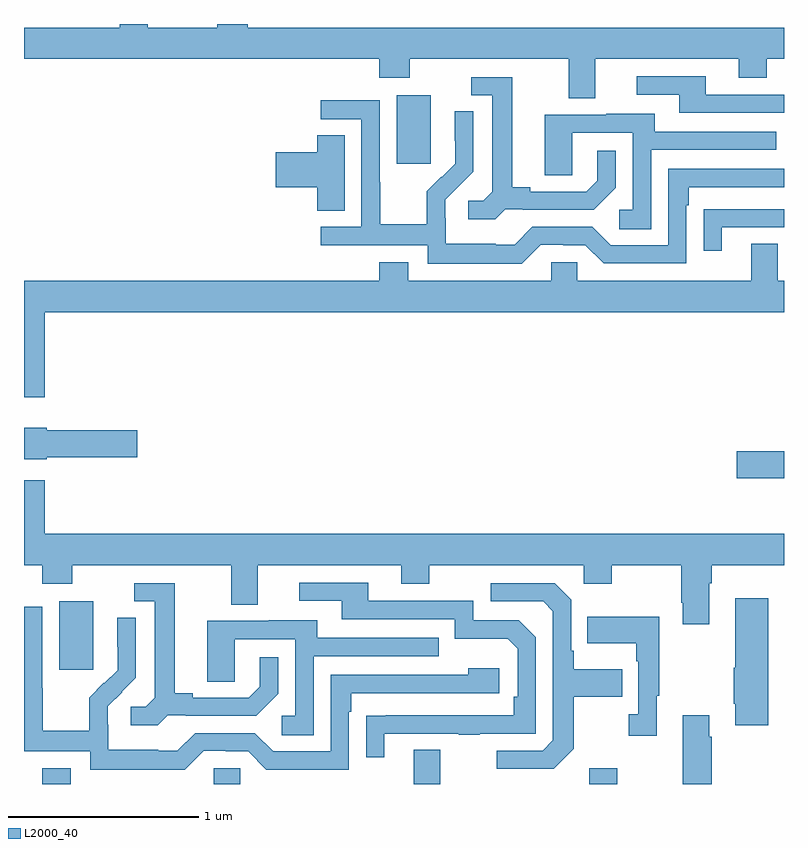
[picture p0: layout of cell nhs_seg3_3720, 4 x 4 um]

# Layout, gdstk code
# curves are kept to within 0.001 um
import gdstk
lib = gdstk.Library(unit=1e-6, precision=1e-09)
def R(c, l, rs):  # rectangles x0, y0, x1, y1
    for r in rs: c.add(gdstk.rectangle(r[:2], r[2:], *l))
def P(c, l, *ps):  # polygons
    for p in ps: c.add(gdstk.Polygon(p, *l))
L2000_40 = (2000, 40)

nhs_seg3_3720 = lib.new_cell('nhs_seg3_3720')
R(nhs_seg3_3720, L2000_40, [(303.095,730.4,303.247,730.483), (303.999,730.4,304.137,730.482), (305.051,730.4,305.191,730.579), (305.975,730.4,306.123,730.483), (303.185,731.001,303.364,731.362), (306.75,732.01,307,732.152), (304.961,733.665,305.14,734.026)])
P(nhs_seg3_3720, L2000_40, [(304.178,734.4),(304.018,734.4),(304.018,734.38),(303.651,734.38),(303.651,734.4),(303.504,734.4),(303.504,734.38),(303,734.38),(303,734.216),(304.871,734.216),(304.871,734.117),(305.031,734.117),(305.031,734.216),(305.867,734.216),(305.867,734.008),(306.007,734.008),(306.007,734.216),(306.761,734.216),(306.761,734.117),(306.909,734.117),(306.909,734.216),(307,734.216),(307,734.38),(304.178,734.38)],
  [(307,734.028),(306.589,734.028),(306.589,734.124),(306.225,734.124),(306.225,734.028),(306.449,734.028),(306.449,733.932),(307,733.932)],
  [(305.532,733.425),(305.626,733.425),(305.626,733.422),(305.998,733.422),(306.114,733.538),(306.114,733.732),(306.017,733.732),(306.017,733.575),(305.96,733.518),(305.665,733.518),(305.665,733.541),(305.569,733.541),(305.569,734.121),(305.355,734.121),(305.355,734.025),(305.465,734.025),(305.465,733.517),(305.418,733.47),(305.337,733.47),(305.337,733.373),(305.48,733.373)],
  [(305.721,733.239),(305.837,733.239),(305.837,733.236),(305.955,733.236),(306.051,733.14),(306.486,733.14),(306.486,733.445),(306.499,733.445),(306.499,733.542),(307,733.542),(307,733.638),(306.39,733.638),(306.39,733.236),(306.087,733.236),(305.991,733.332),(305.676,733.332),(305.583,733.239),(305.483,733.239),(305.483,733.243),(305.22,733.243),(305.22,733.377),(305.218,733.377),(305.218,733.474),(305.364,733.622),(305.364,733.94),(305.268,733.94),(305.268,733.786),(305.27,733.786),(305.27,733.664),(305.199,733.593),(305.196,733.596),(305.119,733.519),(305.119,733.345),(304.875,733.345),(304.875,733.568),(304.872,733.568),(304.872,733.998),(304.563,733.998),(304.563,733.899),(304.776,733.899),(304.776,733.332),(304.563,733.332),(304.563,733.236),(305.124,733.236),(305.124,733.139),(305.621,733.139)],
  [(306.3,733.737),(306.959,733.737),(306.959,733.833),(306.319,733.833),(306.319,733.927),(306.065,733.927),(306.065,733.923),(305.741,733.923),(305.741,733.603),(305.886,733.603),(305.886,733.827),(306.204,733.827),(306.204,733.422),(306.132,733.422),(306.132,733.321),(306.3,733.321)],
  [(304.687,733.814),(304.544,733.814),(304.544,733.724),(304.326,733.724),(304.326,733.541),(304.544,733.541),(304.544,733.417),(304.687,733.417)],
  [(306.673,733.329),(307,733.329),(307,733.425),(306.679,733.425),(306.679,733.424),(306.577,733.424),(306.577,733.206),(306.673,733.206)],
  [(303.109,732.884),(307,732.884),(307,733.048),(306.967,733.048),(306.967,733.243),(306.827,733.243),(306.827,733.048),(305.913,733.048),(305.913,733.146),(305.775,733.146),(305.775,733.048),(305.023,733.048),(305.023,733.147),(304.871,733.147),(304.871,733.048),(303,733.048),(303,732.435),(303.109,732.435)],
  [(303.12,732.121),(303.595,732.121),(303.595,732.263),(303.12,732.263),(303.12,732.274),(303,732.274),(303,732.11),(303.12,732.11)],
  [(306.607,731.456),(306.62,731.456),(306.62,731.552),(307,731.552),(307,731.716),(303.109,731.716),(303.109,731.998),(303,731.998),(303,731.552),(303.095,731.552),(303.095,731.453),(303.255,731.453),(303.255,731.552),(304.091,731.552),(304.091,731.344),(304.231,731.344),(304.231,731.552),(304.985,731.552),(304.985,731.453),(305.133,731.453),(305.133,731.552),(305.946,731.552),(305.946,731.453),(306.093,731.453),(306.093,731.552),(306.46,731.552),(306.46,731.353),(306.467,731.353),(306.467,731.241),(306.607,731.241)],
  [(304.897,730.665),(305.287,730.665),(305.287,730.66),(305.399,730.66),(305.399,730.665),(305.694,730.665),(305.694,731.172),(305.604,731.262),(305.364,731.262),(305.364,731.364),(304.813,731.364),(304.813,731.46),(304.449,731.46),(304.449,731.364),(304.673,731.364),(304.673,731.268),(305.268,731.268),(305.268,731.165),(305.545,731.165),(305.598,731.112),(305.598,730.858),(305.578,730.858),(305.578,730.761),(304.801,730.76),(304.801,730.542),(304.897,730.542)],
  [(305.893,730.585),(305.893,730.858),(306.149,730.858),(306.149,731.005),(305.893,731.005),(305.893,731.101),(305.88,731.101),(305.88,731.37),(305.793,731.457),(305.457,731.457),(305.457,731.361),(305.733,731.361),(305.784,731.31),(305.784,730.629),(305.73,730.575),(305.487,730.575),(305.487,730.479),(305.787,730.479)],
  [(303.756,730.761),(303.85,730.761),(303.85,730.758),(304.222,730.758),(304.338,730.874),(304.338,731.068),(304.241,731.068),(304.241,730.911),(304.184,730.854),(303.889,730.854),(303.889,730.877),(303.793,730.877),(303.793,731.457),(303.579,731.457),(303.579,731.361),(303.689,731.361),(303.689,730.853),(303.642,730.806),(303.561,730.806),(303.561,730.709),(303.704,730.709)],
  [(306.916,731.377),(306.743,731.377),(306.743,731.011),(306.736,731.011),(306.736,730.822),(306.743,730.822),(306.743,730.71),(306.916,730.71)],
  [(303.945,730.575),(304.061,730.575),(304.061,730.572),(304.179,730.572),(304.275,730.476),(304.71,730.476),(304.71,730.781),(304.723,730.781),(304.723,730.878),(305.5,730.878),(305.5,731.008),(305.339,731.008),(305.339,730.974),(304.614,730.974),(304.614,730.572),(304.311,730.572),(304.215,730.668),(303.9,730.668),(303.807,730.575),(303.707,730.575),(303.707,730.579),(303.444,730.579),(303.444,730.713),(303.442,730.713),(303.442,730.81),(303.588,730.958),(303.588,731.276),(303.492,731.276),(303.492,731.122),(303.494,731.122),(303.494,731),(303.423,730.929),(303.42,730.932),(303.343,730.855),(303.343,730.681),(303.099,730.681),(303.099,730.904),(303.096,730.904),(303.096,731.334),(303,731.334),(303,730.572),(303.348,730.572),(303.348,730.475),(303.845,730.475)],
  [(306.331,730.865),(306.343,730.865),(306.343,731.281),(305.965,731.281),(305.965,731.141),(306.222,731.141),(306.222,731.045),(306.234,731.045),(306.234,730.766),(306.183,730.766),(306.183,730.653),(306.331,730.653)],
  [(304.524,731.073),(305.183,731.073),(305.183,731.169),(304.543,731.169),(304.543,731.263),(304.289,731.263),(304.289,731.259),(303.965,731.259),(303.965,730.939),(304.11,730.939),(304.11,731.163),(304.428,731.163),(304.428,730.758),(304.356,730.758),(304.356,730.657),(304.524,730.657)],
  [(306.62,730.649),(306.607,730.649),(306.607,730.762),(306.467,730.762),(306.467,730.4),(306.62,730.4)])

lib.write_gds('nhs_seg3_3720.gds')
